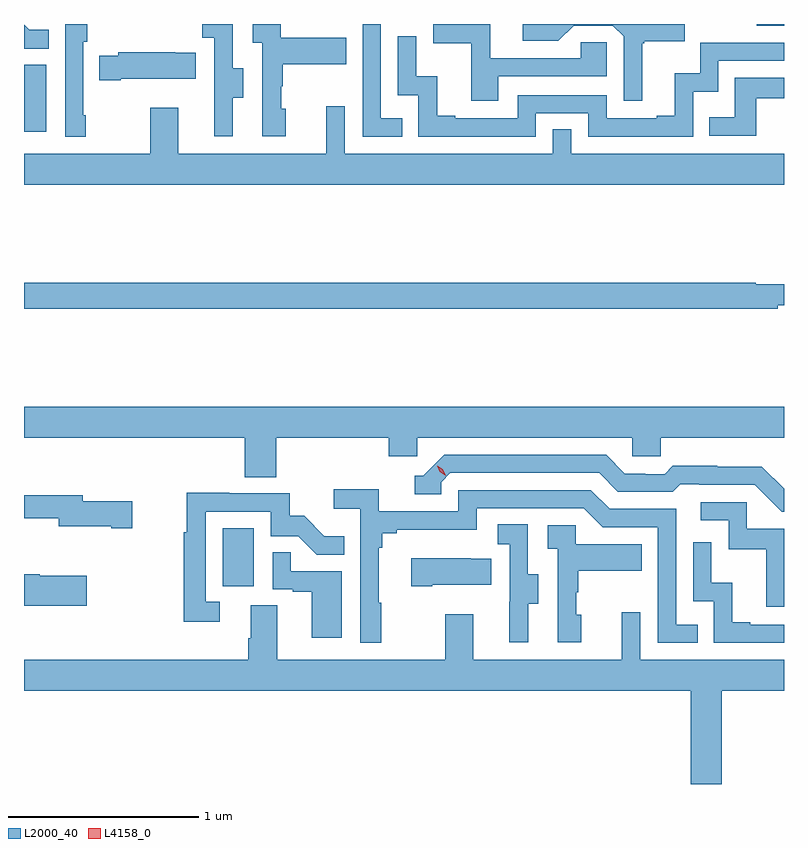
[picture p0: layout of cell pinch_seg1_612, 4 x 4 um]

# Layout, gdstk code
import gdstk
lib = gdstk.Library(unit=1e-6, precision=1e-09)
def R(c, l, rs):  # rectangles x0, y0, x1, y1
    for r in rs: c.add(gdstk.rectangle(r[:2], r[2:], *l))
def P(c, l, *ps):  # polygons
    for p in ps: c.add(gdstk.Polygon(p, *l))
L2000_40 = (2000, 40)
L4158_0 = (4158, 0)

pinch_seg1_612 = lib.new_cell('pinch_seg1_612')
R(pinch_seg1_612, L2000_40, [(1121.03,513.654,1121.194,513.961), (1119.984,516.048,1120.102,516.399), (1123.841,516.606,1123.984,516.614)])
P(pinch_seg1_612, L2000_40, [(1121.083,516.226),(1121.137,516.226),(1121.137,516.381),(1121.082,516.381),(1121.082,516.614),(1120.923,516.614),(1120.923,516.541),(1120.986,516.541),(1120.986,516.237),(1120.985,516.237),(1120.985,516.024),(1121.083,516.024)],
  [(1121.975,516.117),(1121.862,516.117),(1121.862,516.614),(1121.766,516.614),(1121.766,516.021),(1121.975,516.021)],
  [(1120.309,516.133),(1120.296,516.133),(1120.296,516.521),(1120.316,516.521),(1120.316,516.614),(1120.2,516.614),(1120.2,516.02),(1120.309,516.02)],
  [(1123.237,516.513),(1123.249,516.513),(1123.249,516.524),(1123.462,516.524),(1123.462,516.614),(1122.609,516.614),(1122.609,516.525),(1122.796,516.525),(1122.877,516.606),(1123.083,516.606),(1123.14,516.549),(1123.14,516.21),(1123.237,516.21)],
  [(1121.362,516.168),(1121.337,516.168),(1121.337,516.287),(1121.347,516.287),(1121.347,516.401),(1121.681,516.401),(1121.681,516.541),(1121.334,516.541),(1121.334,516.614),(1121.187,516.614),(1121.187,516.515),(1121.238,516.515),(1121.238,516.024),(1121.362,516.024)],
  [(1122.481,516.339),(1123.05,516.339),(1123.05,516.519),(1122.913,516.519),(1122.913,516.435),(1122.439,516.435),(1122.439,516.614),(1122.138,516.614),(1122.138,516.513),(1122.337,516.513),(1122.337,516.21),(1122.481,516.21)],
  [(1120.115,516.583),(1120.011,516.583),(1119.984,516.61),(1119.984,516.484),(1120.115,516.484)],
  [(1122.678,516.144),(1122.954,516.144),(1122.954,516.021),(1123.506,516.021),(1123.506,516.257),(1123.638,516.257),(1123.638,516.42),(1123.984,516.42),(1123.984,516.516),(1123.542,516.516),(1123.542,516.355),(1123.409,516.355),(1123.409,516.13),(1123.313,516.13),(1123.313,516.117),(1123.05,516.117),(1123.05,516.24),(1122.582,516.24),(1122.582,516.117),(1122.253,516.117),(1122.253,516.13),(1122.158,516.13),(1122.158,516.338),(1122.048,516.338),(1122.048,516.55),(1121.952,516.55),(1121.952,516.24),(1122.06,516.24),(1122.06,516.021),(1122.678,516.021)],
  [(1120.492,516.326),(1120.889,516.326),(1120.889,516.463),(1120.781,516.463),(1120.781,516.466),(1120.479,516.466),(1120.479,516.448),(1120.381,516.448),(1120.381,516.319),(1120.492,516.319)],
  [(1123.837,516.222),(1123.984,516.222),(1123.984,516.33),(1123.726,516.33),(1123.726,516.124),(1123.591,516.124),(1123.591,516.027),(1123.837,516.027)],
  [(1123.984,515.932),(1122.864,515.932),(1122.864,516.059),(1122.768,516.059),(1122.768,515.932),(1121.673,515.932),(1121.673,516.181),(1121.576,516.181),(1121.576,515.932),(1120.795,515.932),(1120.795,516.172),(1120.648,516.172),(1120.648,515.932),(1119.984,515.932),(1119.984,515.768),(1123.984,515.768)],
  [(1123.952,515.135),(1123.984,515.135),(1123.984,515.245),(1123.835,515.245),(1123.835,515.252),(1119.984,515.252),(1119.984,515.116),(1123.952,515.116)],
  [(1121.312,514.436),(1121.903,514.436),(1121.903,514.338),(1122.054,514.338),(1122.054,514.436),(1123.185,514.436),(1123.185,514.338),(1123.335,514.338),(1123.335,514.436),(1123.984,514.436),(1123.984,514.6),(1119.984,514.6),(1119.984,514.436),(1121.147,514.436),(1121.147,514.228),(1121.312,514.228)],
  [(1123.984,514.169),(1123.868,514.285),(1123.632,514.285),(1123.632,514.288),(1123.399,514.288),(1123.357,514.245),(1123.254,514.245),(1123.254,514.248),(1123.147,514.248),(1123.048,514.347),(1122.195,514.347),(1122.084,514.236),(1122.041,514.236),(1122.041,514.14),(1122.18,514.14),(1122.18,514.203),(1122.228,514.251),(1123.011,514.251),(1123.11,514.152),(1123.399,514.152),(1123.438,514.191),(1123.537,514.191),(1123.537,514.188),(1123.83,514.188),(1123.971,514.047),(1123.984,514.047)],
  [(1121.863,513.569),(1121.851,513.569),(1121.851,513.857),(1121.87,513.857),(1121.87,513.934),(1121.947,513.934),(1121.947,513.953),(1122.366,513.953),(1122.366,514.065),(1122.93,514.065),(1123.029,513.966),(1123.32,513.966),(1123.32,513.357),(1123.529,513.357),(1123.529,513.453),(1123.416,513.453),(1123.416,514.062),(1123.066,514.062),(1122.967,514.161),(1122.27,514.161),(1122.27,514.05),(1121.852,514.05),(1121.852,514.166),(1121.613,514.166),(1121.613,514.064),(1121.754,514.064),(1121.754,513.357),(1121.863,513.357)],
  [(1121.014,513.573),(1120.941,513.573),(1120.941,514.047),(1121.283,514.047),(1121.283,513.918),(1121.427,513.918),(1121.525,513.82),(1121.669,513.82),(1121.669,513.919),(1121.565,513.919),(1121.458,514.026),(1121.382,514.026),(1121.382,514.143),(1121.063,514.143),(1121.063,514.148),(1120.84,514.148),(1120.84,513.94),(1120.825,513.94),(1120.825,513.468),(1121.014,513.468)],
  [(1120.555,514.101),(1120.294,514.101),(1120.294,514.135),(1119.984,514.135),(1119.984,514.014),(1120.166,514.014),(1120.166,513.971),(1120.442,513.971),(1120.442,513.959),(1120.555,513.959)],
  [(1123.984,513.957),(1123.788,513.957),(1123.788,514.098),(1123.545,514.098),(1123.545,514.002),(1123.692,514.002),(1123.692,513.849),(1123.891,513.849),(1123.891,513.546),(1123.984,513.546)],
  [(1122.637,513.562),(1122.691,513.562),(1122.691,513.717),(1122.636,513.717),(1122.636,513.98),(1122.477,513.98),(1122.477,513.877),(1122.54,513.877),(1122.54,513.573),(1122.539,513.573),(1122.539,513.36),(1122.637,513.36)],
  [(1122.916,513.504),(1122.891,513.504),(1122.891,513.623),(1122.901,513.623),(1122.901,513.737),(1123.235,513.737),(1123.235,513.877),(1122.888,513.877),(1122.888,513.975),(1122.741,513.975),(1122.741,513.851),(1122.792,513.851),(1122.792,513.36),(1122.916,513.36)],
  [(1123.984,513.453),(1123.807,513.453),(1123.807,513.466),(1123.712,513.466),(1123.712,513.674),(1123.602,513.674),(1123.602,513.886),(1123.506,513.886),(1123.506,513.576),(1123.614,513.576),(1123.614,513.357),(1123.984,513.357)],
  [(1121.656,513.735),(1121.387,513.735),(1121.387,513.833),(1121.292,513.833),(1121.292,513.639),(1121.399,513.639),(1121.399,513.627),(1121.498,513.627),(1121.498,513.384),(1121.656,513.384)],
  [(1122.133,513.662),(1122.443,513.662),(1122.443,513.799),(1122.335,513.799),(1122.335,513.802),(1122.021,513.802),(1122.021,513.655),(1122.133,513.655)],
  [(1120.315,513.709),(1120.066,513.709),(1120.066,513.717),(1119.984,513.717),(1119.984,513.551),(1120.315,513.551)],
  [(1123.657,513.104),(1123.984,513.104),(1123.984,513.268),(1123.227,513.268),(1123.227,513.517),(1123.13,513.517),(1123.13,513.268),(1122.349,513.268),(1122.349,513.508),(1122.202,513.508),(1122.202,513.268),(1121.317,513.268),(1121.317,513.554),(1121.177,513.554),(1121.177,513.38),(1121.165,513.38),(1121.165,513.268),(1119.984,513.268),(1119.984,513.104),(1123.493,513.104),(1123.493,512.614),(1123.657,512.614)])
P(pinch_seg1_612, L4158_0, [(1122.203,514.236),(1122.173,514.257),(1122.158,514.29),(1122.158,514.29),(1122.158,514.29),(1122.188,514.27),(1122.204,514.237),(1122.204,514.236)])

lib.write_gds('pinch_seg1_612.gds')
